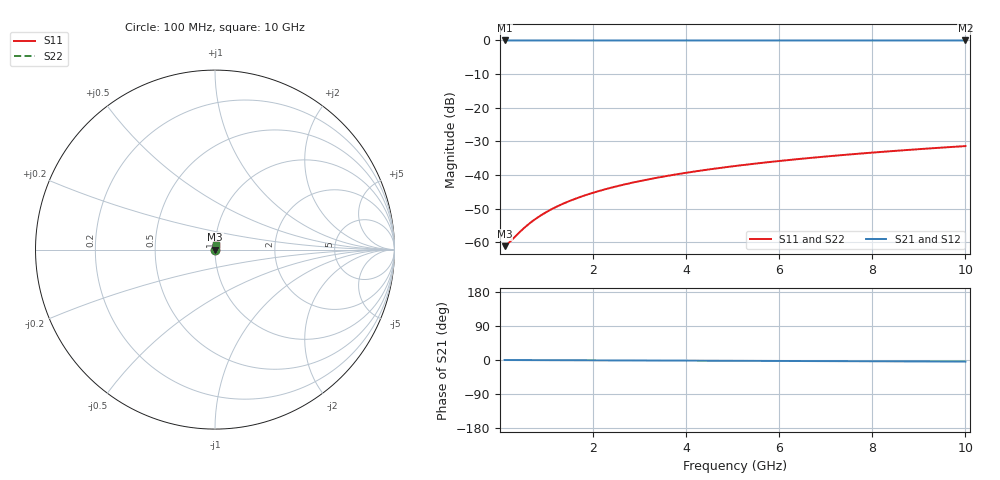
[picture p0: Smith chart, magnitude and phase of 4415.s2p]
# Hz S RI R 50.00
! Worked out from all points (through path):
!   100 points, 100 MHz to 10 GHz, reference 50 ohm
!   highest |S21| = -0.01 dB at 100 MHz (marker M1); lowest = 0.0 dB at 10 GHz (marker M2)
!   lowest |S11| = -61.2 dB at 100 MHz (marker M3), VSWR 1.00, Z = 50.1 + j0.0268 ohm
!   |S11| at or under -10 dB: start of sweep to end of sweep
!   |S22| runs from -61.2 to -31.4 dB; largest |S21 - S12| = 0
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1e8  0.000833 0.000268  0.9992 -0.000733  0.9992 -0.000733  0.000833 0.000268
2e8  0.000839 0.000536  0.9992 -0.00147  0.9992 -0.00147  0.000839 0.000536
4e8  0.000848 0.00107  0.9991 -0.00293  0.9991 -0.00293  0.000848 0.00107
5e8  0.000852 0.00134  0.9991 -0.00366  0.9991 -0.00366  0.000852 0.00134
6e8  0.000857 0.00161  0.9991 -0.0044  0.9991 -0.0044  0.000857 0.00161
7e8  0.000861 0.00187  0.9991 -0.00513  0.9991 -0.00513  0.000861 0.00187
9e8  0.000871 0.00241  0.9991 -0.00659  0.9991 -0.00659  0.000871 0.00241
1.1e9  0.000882 0.00295  0.9991 -0.00806  0.9991 -0.00806  0.000882 0.00295
1.3e9  0.000894 0.00348  0.9991 -0.00952  0.9991 -0.00952  0.000894 0.00348
1.5e9  0.000908 0.00402  0.9991 -0.011  0.9991 -0.011  0.000908 0.00402
1.8e9  0.000931 0.00482  0.999 -0.0132  0.999 -0.0132  0.000931 0.00482
2.1e9  0.000957 0.00562  0.999 -0.0154  0.999 -0.0154  0.000957 0.00562
2.5e9  0.000997 0.00669  0.9989 -0.0183  0.9989 -0.0183  0.000997 0.00669
2.9e9  0.00104 0.00776  0.9989 -0.0212  0.9989 -0.0212  0.00104 0.00776
3.4e9  0.00111 0.0091  0.9988 -0.0249  0.9988 -0.0249  0.00111 0.0091
4.2e9  0.00123 0.0112  0.9986 -0.0308  0.9986 -0.0308  0.00123 0.0112
5.1e9  0.0014 0.0136  0.9983 -0.0374  0.9983 -0.0374  0.0014 0.0136
5.9e9  0.00158 0.0158  0.998 -0.0433  0.998 -0.0433  0.00158 0.0158
6.7e9  0.00179 0.0179  0.9977 -0.0491  0.9977 -0.0491  0.00179 0.0179
7.5e9  0.00201 0.0201  0.9973 -0.055  0.9973 -0.055  0.00201 0.0201
8.4e9  0.0023 0.0225  0.9969 -0.0616  0.9969 -0.0616  0.0023 0.0225
1e10  0.00289 0.0267  0.996 -0.0734  0.996 -0.0734  0.00289 0.0267
